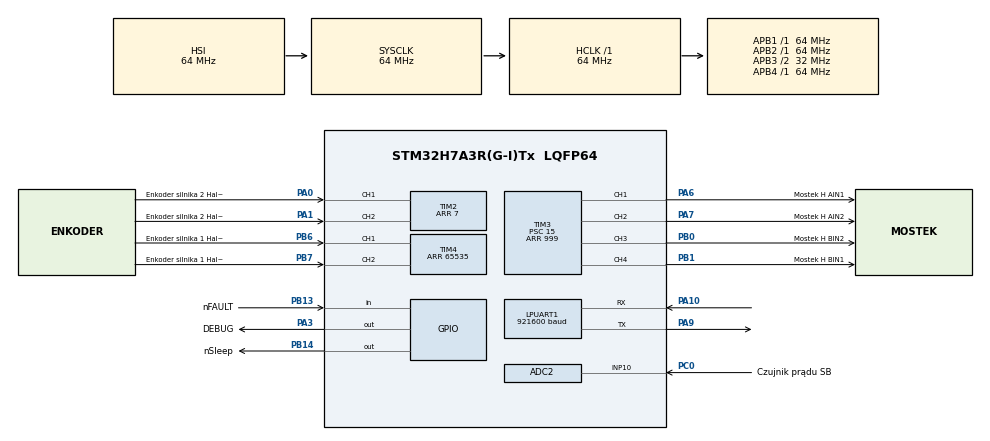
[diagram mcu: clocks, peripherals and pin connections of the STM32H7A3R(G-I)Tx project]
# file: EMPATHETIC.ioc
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ADC2.Channel-0\#ChannelRegularConversion=ADC_CHANNEL_10
ADC2.ClockPrescaler=ADC_CLOCK_ASYNC_DIV1
ADC2.ContinuousConvMode=DISABLE
ADC2.ConversionDataManagement=ADC_CONVERSIONDATA_DMA_CIRCULAR
ADC2.ExternalTrigConv=ADC_EXTERNALTRIG_T15_TRGO
ADC2.NbrOfConversionFlag=1
ADC2.OversamplingMode=ENABLE
ADC2.Ratio=16
ARM.CMSIS.5.7.0.CMSISJjCORE=true
ARM.CMSIS.5.7.0.CMSISJjDSP=Library
Dma.ADC2.0.Direction=DMA_PERIPH_TO_MEMORY
Dma.ADC2.0.EventEnable=DISABLE
Dma.ADC2.0.FIFOMode=DMA_FIFOMODE_DISABLE
Dma.ADC2.0.Instance=DMA1_Stream0
Dma.ADC2.0.MemDataAlignment=DMA_MDATAALIGN_WORD
Dma.ADC2.0.MemInc=DMA_MINC_ENABLE
Dma.ADC2.0.Mode=DMA_CIRCULAR
Dma.ADC2.0.PeriphDataAlignment=DMA_PDATAALIGN_WORD
Dma.ADC2.0.PeriphInc=DMA_PINC_DISABLE
Dma.ADC2.0.Polarity=HAL_DMAMUX_REQ_GEN_RISING
Dma.ADC2.0.Priority=DMA_PRIORITY_LOW
Dma.ADC2.0.RequestNumber=1
Dma.ADC2.0.SignalID=NONE
Dma.ADC2.0.SyncEnable=DISABLE
Dma.ADC2.0.SyncPolarity=HAL_DMAMUX_SYNC_NO_EVENT
Dma.ADC2.0.SyncRequestNumber=1
Dma.ADC2.0.SyncSignalID=NONE
Dma.Request0=ADC2
LPUART1.BaudRate=921600
Mcu.Family=STM32H7
Mcu.Name=STM32H7A3R(G-I)Tx
Mcu.Package=LQFP64
NVIC.DMA1_Stream0_IRQn=true\:0\:0\:false\:false\:true\:false\:true\:true
NVIC.LPUART1_IRQn=true\:0\:0\:false\:false\:true\:true\:true\:true
NVIC.PriorityGroup=NVIC_PRIORITYGROUP_4
PA0.GPIO_Label=Enkoder silnika 2 Hall 1
PA0.Signal=S_TIM2_CH1_ETR
PA1.GPIO_Label=Enkoder silnika 2 Hall 2
PA1.Signal=S_TIM2_CH2
PA10.Mode=Asynchronous
PA10.Signal=LPUART1_RX
PA3.GPIO_Label=DEBUG
PA3.GPIO_Speed=GPIO_SPEED_FREQ_MEDIUM
PA3.Signal=GPIO_Output
PA6.GPIO_Label=Mostek H AIN1
PA6.Signal=S_TIM3_CH1
PA7.GPIO_Label=Mostek H AIN2
PA7.Signal=S_TIM3_CH2
PA8.Signal=I2C3_SCL
PA9.Mode=Asynchronous
PA9.Signal=LPUART1_TX
PB0.GPIO_Label=Mostek H BIN2
PB0.Signal=S_TIM3_CH3
PB1.GPIO_Label=Mostek H BIN1
PB1.Signal=S_TIM3_CH4
PB13.GPIO_Label=nFAULT
PB13.GPIO_PuPd=GPIO_PULLUP
PB13.Signal=GPIO_Input
PB14.GPIO_Label=nSleep
PB14.Signal=GPIO_Output
PB6.GPIO_Label=Enkoder silnika 1 Hall 1
PB6.Signal=S_TIM4_CH1
PB7.GPIO_Label=Enkoder silnika 1 Hall 2
PB7.Signal=S_TIM4_CH2
PC0.GPIO_Label=Czujnik pr\u0105du SB
PC0.Signal=ADCx_INP10
PC1.GPIO_Label=Czujnik pr\u0105du SA
PC1.Signal=ADCx_INP11
PC9.Signal=I2C3_SDA
ProjectManager.HeapSize=0x200
ProjectManager.StackSize=0x400
ProjectManager.TargetToolchain=STM32CubeIDE
RCC.ADCFreq_Value=50000000
RCC.APB1Freq_Value=64000000
RCC.APB2Freq_Value=64000000
RCC.APB3Freq_Value=32000000
RCC.APB4Freq_Value=64000000
RCC.CDPPRE=RCC_APB3_DIV2
RCC.CortexFreq_Value=64000000
RCC.DIVM2=16
RCC.DIVN2=50
RCC.DIVP2=4
RCC.HCLKFreq_Value=64000000
RCC.SYSCLKFreq_VALUE=64000000
RCC.USBFreq_Value=129000000
SH.ADCx_INP10.0=ADC2_INP10,IN10-Single-Ended
SH.ADCx_INP11.0=ADC1_INP11
SH.S_TIM2_CH1_ETR.0=TIM2_CH1,Encoder_Interface
SH.S_TIM2_CH2.0=TIM2_CH2,Encoder_Interface
SH.S_TIM3_CH1.0=TIM3_CH1,PWM Generation1 CH1
SH.S_TIM3_CH2.0=TIM3_CH2,PWM Generation2 CH2
SH.S_TIM3_CH3.0=TIM3_CH3,PWM Generation3 CH3
SH.S_TIM3_CH4.0=TIM3_CH4,PWM Generation4 CH4
SH.S_TIM4_CH1.0=TIM4_CH1,Encoder_Interface
SH.S_TIM4_CH2.0=TIM4_CH2,Encoder_Interface
TIM15.Period=39
TIM15.Prescaler=63
TIM15.TIM_MasterOutputTrigger=TIM_TRGO_UPDATE
TIM2.EncoderMode=TIM_ENCODERMODE_TI1
TIM2.IC1Filter=0
TIM2.IC2Filter=0
TIM2.Period=7
TIM3.AutoReloadPreload=TIM_AUTORELOAD_PRELOAD_ENABLE
TIM3.Channel-PWM\ Generation1\ CH1=TIM_CHANNEL_1
TIM3.Channel-PWM\ Generation2\ CH2=TIM_CHANNEL_2
TIM3.Channel-PWM\ Generation3\ CH3=TIM_CHANNEL_3
TIM3.Channel-PWM\ Generation4\ CH4=TIM_CHANNEL_4
TIM3.Period=999
TIM3.Prescaler=15
TIM4.EncoderMode=TIM_ENCODERMODE_TI12
TIM4.Period=65535
VP_ARM.CMSIS_VS_CMSISJjCORE_5.4.0_5.7.0.Mode=CMSISJjCORE
VP_ARM.CMSIS_VS_CMSISJjDSP_1.8.0_5.7.0.Mode=CMSISJjDSP
VP_TIM15_VS_ClockSourceINT.Mode=Internal
VP_TIM3_VS_ClockSourceINT.Mode=Internal
VP_VREFBUF_OUT.Mode=InternalMode
VREFBUF.TrimmingMode=__NULL
VREFBUF.VoltageScaling=SYSCFG_VREFBUF_VOLTAGE_SCALE0
board=custom

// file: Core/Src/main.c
/* USER CODE BEGIN Header */
/**
 ******************************************************************************
 * @file           : main.c
 * @brief          : Main program body
 ******************************************************************************
 * @attention
 *
 * Copyright (c) 2024 STMicroelectronics.
 * All rights reserved.
 *
 * This software is licensed under terms that can be found in the LICENSE file
 * in the root directory of this software component.
 * If no LICENSE file comes with this software, it is provided AS-IS.
 *
 ******************************************************************************
 */
/* USER CODE END Header */
#include "main.h"
#include "adc.h"
#include "dma.h"
#include "usart.h"
#include "tim.h"
#include "gpio.h"

/* USER CODE BEGIN Includes */
#include <stdio.h>
#include <stdlib.h>
#include <string.h>

#include "arm_math.h"
#include "FIR/fir_coefs.h"

#include "drv8833_config.h"

/* USER CODE END Includes */

/* USER CODE BEGIN PD */
#define LEFT 350
#define RIGHT 275

#define OVERSAMPLING 16
#define ADC_RES 16
/* USER CODE END PD */

/* USER CODE BEGIN PV */
volatile uint32_t adc_buffer;
float adc_value;

arm_fir_instance_f32 fir_instance;
float32_t fir_in, fir_out, fir_state[FIR_LENGTH];

unsigned char rxData[32];
uint16_t rxDataSize;

float duty = 0.0f;
int16_t counter = 0;
/* USER CODE END PV */

void SystemClock_Config(void);

/* USER CODE BEGIN 0 */

//void HAL_ADC_ConvCpltCallback(ADC_HandleTypeDef *_hadc) {
//  adc_value = adc_buffer * 3.3f / ((1 << ADC_RES) - 1) / OVERSAMPLING * 2;
//
//  HAL_GPIO_TogglePin(DEBUG_GPIO_Port, DEBUG_Pin);
//
//  fir_in = (float32_t) adc_value;
//  arm_fir_f32(&fir_instance, &fir_in, &fir_out, 1);
//}
//
//void motor_left_forward(short unsigned int cmp) {
//  __HAL_TIM_SET_COMPARE(&htim3, TIM_CHANNEL_1, cmp);
//  __HAL_TIM_SET_COMPARE(&htim3, TIM_CHANNEL_2, 0);
//}
//
//void motor_right_forward(short unsigned int cmp) {
//  __HAL_TIM_SET_COMPARE(&htim3, TIM_CHANNEL_3, cmp);
//  __HAL_TIM_SET_COMPARE(&htim3, TIM_CHANNEL_4, 0);
//}
//
//void motor_left_backward(short unsigned int cmp) {
//  __HAL_TIM_SET_COMPARE(&htim3, TIM_CHANNEL_1, 0);
//  __HAL_TIM_SET_COMPARE(&htim3, TIM_CHANNEL_2, cmp);
//}
//
//void motor_right_backward(short unsigned int cmp) {
//  __HAL_TIM_SET_COMPARE(&htim3, TIM_CHANNEL_3, 0);
//  __HAL_TIM_SET_COMPARE(&htim3, TIM_CHANNEL_4, cmp);
//}
//
//void motor_left_stop(void) {
//  __HAL_TIM_SET_COMPARE(&htim3, TIM_CHANNEL_1, 0);
//  __HAL_TIM_SET_COMPARE(&htim3, TIM_CHANNEL_2, 0);
//}
//
//void motor_right_stop(void) {
//  __HAL_TIM_SET_COMPARE(&htim3, TIM_CHANNEL_3, 0);
//  __HAL_TIM_SET_COMPARE(&htim3, TIM_CHANNEL_4, 0);
//}

/**
  * @brief  Rx Transfer completed callback.
  * @param  huart UART handle.
  * @retval None
  */
//void HAL_UART_RxCpltCallback(UART_HandleTypeDef *huart)
//{
//  if(huart == &hlpuart1)
//  {
//    int left = 0, right = 0;
//    sscanf((char*)rxData, "%d,%d", &left, &right);
//
//    motor_left_forward(left);
//    motor_right_forward(right);
//
//    HAL_UART_Receive_IT(&hlpuart1, rxData, rxDataSize);
//  }
//}

/* USER CODE END 0 */

int main(void)
{

  /* USER CODE BEGIN 1 */
//  arm_fir_init_f32(&fir_instance, FIR_LENGTH, fir_coefficients, fir_state, 1);
  /* USER CODE END 1 */

  /* MCU Configuration--------------------------------------------------------*/

  /* Reset of all peripherals, Initializes the Flash interface and the Systick. */
  HAL_Init();

  /* Configure the system clock */
  SystemClock_Config();

  /* Initialize all configured peripherals */
  MX_GPIO_Init();
  MX_DMA_Init();
  MX_LPUART1_UART_Init();
  MX_TIM3_Init();
  MX_TIM4_Init();
  MX_ADC2_Init();
  MX_TIM2_Init();
  MX_TIM15_Init();
  /* USER CODE BEGIN 2 */

  drv8833_init(&drv8833);
  drv8833_start(&drv8833);

//  HAL_ADCEx_Calibration_Start(&hadc2, ADC_CALIB_OFFSET,
//  ADC_DIFFERENTIAL_ENDED);
  HAL_TIM_Encoder_Start(&htim2, TIM_CHANNEL_ALL);
//  HAL_TIM_Encoder_Start(&htim4, TIM_CHANNEL_ALL);
//
//  HAL_TIM_PWM_Start(&htim3, TIM_CHANNEL_1);
//  HAL_TIM_PWM_Start(&htim3, TIM_CHANNEL_2);
//  HAL_TIM_PWM_Start(&htim3, TIM_CHANNEL_3);
//  HAL_TIM_PWM_Start(&htim3, TIM_CHANNEL_4);
//
//  HAL_UART_Transmit(&hlpuart1, (uint8_t*) "Starting\r\n", 10, HAL_MAX_DELAY);
//  HAL_TIM_Base_Start(&htim15);
  //HAL_ADC_Start_DMA(&hadc2, (uint32_t*) &adc_buffer, 1);
  /* USER CODE END 2 */

  /* Infinite loop */
  /* USER CODE BEGIN WHILE */
//  HAL_GPIO_WritePin(nSleep_GPIO_Port, nSleep_Pin, GPIO_PIN_SET);
//
//  uint32_t line_num = 0;
//
//  uint32_t uart_report = HAL_GetTick();
//
//  rxDataSize = strlen("+000,+000");
//  HAL_UART_Receive_IT(&hlpuart1, rxData, rxDataSize);

  //while (1)
  //  ;

  while (1) {
    drv8833_speed_change(&drv8833, A_B, duty);

    counter = __HAL_TIM_GET_COUNTER(&htim2);

    /* USER CODE END WHILE */

    /* USER CODE BEGIN 3 */
//    uint8_t data[256];
//    uint32_t counter2 = __HAL_TIM_GET_COUNTER(&htim2);
//    uint32_t counter4 = __HAL_TIM_GET_COUNTER(&htim4);
//
//    uint8_t value = (
//        HAL_GPIO_ReadPin(nFAULT_GPIO_Port, nFAULT_Pin) == GPIO_PIN_SET ? 1 : 0);
//
//    if (HAL_GetTick() - uart_report > 1000) {
//      uint8_t len =
//          sprintf((char*) data,
//              "{%ld}: Hello World! Encoder2: %ld, Encoder4: %ld, nFault: %d, adc_value: %f, raw_adc: %ld\r\n",
//              line_num++, counter2, counter4, value, adc_value, adc_buffer);
//      HAL_UART_Transmit(&hlpuart1, data, len, HAL_MAX_DELAY);
//
//      uart_report = HAL_GetTick();
//    }

  }
  /* USER CODE END 3 */
}

void SystemClock_Config(void)
{
  RCC_OscInitTypeDef RCC_OscInitStruct = {0};
  RCC_ClkInitTypeDef RCC_ClkInitStruct = {0};

  /*AXI clock gating */
  RCC->CKGAENR = 0xFFFFFFFF;

  /** Supply configuration update enable
  */
  HAL_PWREx_ConfigSupply(PWR_LDO_SUPPLY);

  /** Configure the main internal regulator output voltage
  */
  __HAL_PWR_VOLTAGESCALING_CONFIG(PWR_REGULATOR_VOLTAGE_SCALE3);

  while(!__HAL_PWR_GET_FLAG(PWR_FLAG_VOSRDY)) {}

  /** Macro to configure the PLL clock source
  */
  __HAL_RCC_PLL_PLLSOURCE_CONFIG(RCC_PLLSOURCE_HSI);

  /** Initializes the RCC Oscillators according to the specified parameters
  * in the RCC_OscInitTypeDef structure.
  */
  RCC_OscInitStruct.OscillatorType = RCC_OSCILLATORTYPE_HSI;
  RCC_OscInitStruct.HSIState = RCC_HSI_DIV1;
  RCC_OscInitStruct.HSICalibrationValue = 64;
  RCC_OscInitStruct.PLL.PLLState = RCC_PLL_NONE;
  if (HAL_RCC_OscConfig(&RCC_OscInitStruct) != HAL_OK)
  {
    Error_Handler();
  }

  /** Initializes the CPU, AHB and APB buses clocks
  */
  RCC_ClkInitStruct.ClockType = RCC_CLOCKTYPE_HCLK|RCC_CLOCKTYPE_SYSCLK
                              |RCC_CLOCKTYPE_PCLK1|RCC_CLOCKTYPE_PCLK2
                              |RCC_CLOCKTYPE_D3PCLK1|RCC_CLOCKTYPE_D1PCLK1;
  RCC_ClkInitStruct.SYSCLKSource = RCC_SYSCLKSOURCE_HSI;
  RCC_ClkInitStruct.SYSCLKDivider = RCC_SYSCLK_DIV1;
  RCC_ClkInitStruct.AHBCLKDivider = RCC_HCLK_DIV1;
  RCC_ClkInitStruct.APB3CLKDivider = RCC_APB3_DIV2;
  RCC_ClkInitStruct.APB1CLKDivider = RCC_APB1_DIV1;
  RCC_ClkInitStruct.APB2CLKDivider = RCC_APB2_DIV1;
  RCC_ClkInitStruct.APB4CLKDivider = RCC_APB4_DIV1;

  if (HAL_RCC_ClockConfig(&RCC_ClkInitStruct, FLASH_LATENCY_2) != HAL_OK)
  {
    Error_Handler();
  }
}

void Error_Handler(void)
{
  __disable_irq();
  while (1) {
  }
}
